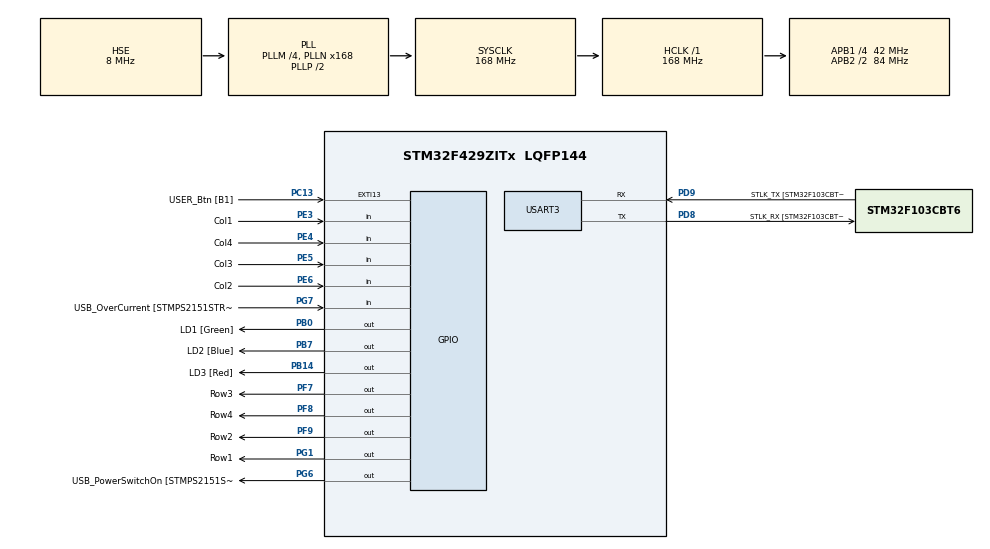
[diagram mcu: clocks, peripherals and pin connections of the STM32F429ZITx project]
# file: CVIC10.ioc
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Mcu.Family=STM32F4
Mcu.Name=STM32F429ZITx
Mcu.Package=LQFP144
NVIC.PriorityGroup=NVIC_PRIORITYGROUP_4
NVIC.TIM3_IRQn=true\:0\:0\:false\:false\:true\:true\:true\:true
PA1.GPIO_Label=RMII_REF_CLK [LAN8742A-CZ-TR_REFCLK0]
PA1.Signal=ETH_REF_CLK
PA10.GPIO_Label=USB_ID
PA10.Signal=USB_OTG_FS_ID
PA11.GPIO_Label=USB_DM
PA11.Signal=USB_OTG_FS_DM
PA12.GPIO_Label=USB_DP
PA12.Signal=USB_OTG_FS_DP
PA13.GPIO_Label=TMS
PA13.Mode=Serial_Wire
PA13.Signal=SYS_JTMS-SWDIO
PA14.GPIO_Label=TCK
PA14.Mode=Serial_Wire
PA14.Signal=SYS_JTCK-SWCLK
PA2.GPIO_Label=RMII_MDIO [LAN8742A-CZ-TR_MDIO]
PA2.Signal=ETH_MDIO
PA7.GPIO_Label=RMII_CRS_DV [LAN8742A-CZ-TR_CRS_DV]
PA7.Signal=ETH_CRS_DV
PA8.GPIO_Label=USB_SOF [TP1]
PA8.Signal=USB_OTG_FS_SOF
PA9.GPIO_Label=USB_VBUS
PA9.Signal=USB_OTG_FS_VBUS
PB0.GPIO_Label=LD1 [Green]
PB0.Signal=GPIO_Output
PB13.GPIO_Label=RMII_TXD1 [LAN8742A-CZ-TR_TXD1]
PB13.Signal=ETH_TXD1
PB14.GPIO_Label=LD3 [Red]
PB14.Signal=GPIO_Output
PB7.GPIO_Label=LD2 [Blue]
PB7.Signal=GPIO_Output
PC1.GPIO_Label=RMII_MDC [LAN8742A-CZ-TR_MDC]
PC1.Signal=ETH_MDC
PC13.GPIO_Label=USER_Btn [B1]
PC13.Signal=GPXTI13
PC14/OSC32_IN.Mode=LSE-External-Oscillator
PC14/OSC32_IN.Signal=RCC_OSC32_IN
PC15/OSC32_OUT.Mode=LSE-External-Oscillator
PC15/OSC32_OUT.Signal=RCC_OSC32_OUT
PC4.GPIO_Label=RMII_RXD0 [LAN8742A-CZ-TR_RXD0]
PC4.Signal=ETH_RXD0
PC5.GPIO_Label=RMII_RXD1 [LAN8742A-CZ-TR_RXD1]
PC5.Signal=ETH_RXD1
PD8.GPIO_Label=STLK_RX [STM32F103CBT6_PA3]
PD8.Mode=Asynchronous
PD8.Signal=USART3_TX
PD9.GPIO_Label=STLK_TX [STM32F103CBT6_PA2]
PD9.Mode=Asynchronous
PD9.Signal=USART3_RX
PE3.GPIO_Label=Col1
PE3.GPIO_PuPd=GPIO_PULLUP
PE3.Signal=GPIO_Input
PE4.GPIO_Label=Col4
PE4.GPIO_PuPd=GPIO_PULLUP
PE4.Signal=GPIO_Input
PE5.GPIO_Label=Col3
PE5.GPIO_PuPd=GPIO_PULLUP
PE5.Signal=GPIO_Input
PE6.GPIO_Label=Col2
PE6.GPIO_PuPd=GPIO_PULLUP
PE6.Signal=GPIO_Input
PF7.GPIO_Label=Row3
PF7.GPIO_ModeDefaultOutputPP=GPIO_MODE_OUTPUT_OD
PF7.GPIO_PuPd=GPIO_NOPULL
PF7.Signal=GPIO_Output
PF8.GPIO_Label=Row4
PF8.GPIO_ModeDefaultOutputPP=GPIO_MODE_OUTPUT_OD
PF8.GPIO_PuPd=GPIO_NOPULL
PF8.Signal=GPIO_Output
PF9.GPIO_Label=Row2
PF9.GPIO_ModeDefaultOutputPP=GPIO_MODE_OUTPUT_OD
PF9.GPIO_PuPd=GPIO_NOPULL
PF9.Signal=GPIO_Output
PG1.GPIO_Label=Row1
PG1.GPIO_ModeDefaultOutputPP=GPIO_MODE_OUTPUT_OD
PG1.GPIO_PuPd=GPIO_NOPULL
PG1.Signal=GPIO_Output
PG11.GPIO_Label=RMII_TX_EN [LAN8742A-CZ-TR_TXEN]
PG11.Signal=ETH_TX_EN
PG13.GPIO_Label=RMII_TXD0 [LAN8742A-CZ-TR_TXD0]
PG13.Signal=ETH_TXD0
PG6.GPIO_Label=USB_PowerSwitchOn [STMPS2151STR_EN]
PG6.Signal=GPIO_Output
PG7.GPIO_Label=USB_OverCurrent [STMPS2151STR_FAULT]
PG7.Signal=GPIO_Input
PH0/OSC_IN.GPIO_Label=MCO [STM32F103CBT6_PA8]
PH0/OSC_IN.Mode=HSE-External-Clock-Source
PH0/OSC_IN.Signal=RCC_OSC_IN
PH1/OSC_OUT.Mode=HSE-External-Clock-Source
PH1/OSC_OUT.Signal=RCC_OSC_OUT
ProjectManager.HeapSize=0x200
ProjectManager.StackSize=0x400
ProjectManager.TargetToolchain=STM32CubeIDE
RCC.48MHZClocksFreq_Value=48000000
RCC.AHBFreq_Value=168000000
RCC.APB1CLKDivider=RCC_HCLK_DIV4
RCC.APB1Freq_Value=42000000
RCC.APB1TimFreq_Value=84000000
RCC.APB2CLKDivider=RCC_HCLK_DIV2
RCC.APB2Freq_Value=84000000
RCC.APB2TimCLKDivider=2
RCC.APB2TimFreq_Value=168000000
RCC.CortexFreq_Value=168000000
RCC.HCLKFreq_Value=168000000
RCC.HSE_VALUE=8000000
RCC.HSI_VALUE=16000000
RCC.PLLM=4
RCC.PLLMUL=RCC_PLL_MUL9
RCC.PLLN=168
RCC.PLLQ=7
RCC.PLLSourceVirtual=RCC_PLLSOURCE_HSE
RCC.PRESCALERUSB=RCC_USBCLKSOURCE_PLL_DIV1_5
RCC.SYSCLKFreq_VALUE=168000000
RCC.SYSCLKSource=RCC_SYSCLKSOURCE_PLLCLK
RCC.SYSCLKSourceVirtual=RCC_SYSCLKSOURCE_PLLCLK
RCC.USBFreq_Value=48000000
RCC.VCOOutputFreq_Value=336000000
TIM3.AutoReloadPreload=TIM_AUTORELOAD_PRELOAD_ENABLE
TIM3.Period=99
TIM3.Prescaler=8399
USART3.VirtualMode=VM_ASYNC
VP_TIM3_VS_ClockSourceINT.Mode=Internal
board=NUCLEO-F429ZI

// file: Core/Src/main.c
/* USER CODE BEGIN Header */
/**
  ******************************************************************************
  * @file           : main.c
  * @brief          : Main program body
  ******************************************************************************
  * @attention
  *
  * Copyright (c) 2023 STMicroelectronics.
  * All rights reserved.
  *
  * This software is licensed under terms that can be found in the LICENSE file
  * in the root directory of this software component.
  * If no LICENSE file comes with this software, it is provided AS-IS.
  *
  ******************************************************************************
  */
/* USER CODE END Header */
#include "main.h"

/* USER CODE BEGIN Includes */
#include <stdio.h>

/* USER CODE END Includes */

TIM_HandleTypeDef htim3;

UART_HandleTypeDef huart3;

/* USER CODE BEGIN PV */
static volatile int8_t key = -1;
static const int8_t kod[] = {7, 9, 3, 2, 12};
static int8_t pos = 0;

/* USER CODE END PV */

void SystemClock_Config(void);
static void MX_GPIO_Init(void);
static void MX_USART3_UART_Init(void);
static void MX_TIM3_Init(void);

/* USER CODE BEGIN 0 */

int __io_putchar(int ch)
{
ITM_SendChar(ch);
return 0;
}

/* USER CODE END 0 */

int main(void)
{

  /* MCU Configuration--------------------------------------------------------*/

  /* Reset of all peripherals, Initializes the Flash interface and the Systick. */
  HAL_Init();

  /* Configure the system clock */
  SystemClock_Config();

  /* Initialize all configured peripherals */
  MX_GPIO_Init();
  MX_USART3_UART_Init();
  MX_TIM3_Init();
  /* USER CODE BEGIN 2 */
  HAL_TIM_Base_Start_IT(&htim3);
  /* USER CODE END 2 */

  /* Infinite loop */
  /* USER CODE BEGIN WHILE */
  while (1)
  {

	  /*HAL_GPIO_TogglePin(LD1_GPIO_Port, LD1_Pin);
	  HAL_Delay(250);
	  printf("Tick\n");*/

	  /*if (key != -1){
		  printf("Stisknuto: %d\n", key);
		  HAL_Delay(500);
		  key = -1;
	  }*/

	  static uint32_t delay;

	  if (HAL_GetTick() > delay + 750) {

		  if (key != -1){
			  if (key == kod[pos]){
				  printf("Stisknuto: %d\n", key);
				  HAL_Delay(200);
				  pos = pos + 1;
				  key = -1;
			  }
			  else {
				  key = -1;
				  pos = 0;
			  }

		  }

		  if (pos > 4){
			  HAL_GPIO_TogglePin(LD1_GPIO_Port, LD1_Pin);
			  pos = 0;
		  }

		  delay = HAL_GetTick();
	  }

    /* USER CODE END WHILE */

  }
}

void SystemClock_Config(void)
{
  RCC_OscInitTypeDef RCC_OscInitStruct = {0};
  RCC_ClkInitTypeDef RCC_ClkInitStruct = {0};

  /** Configure the main internal regulator output voltage
  */
  __HAL_RCC_PWR_CLK_ENABLE();
  __HAL_PWR_VOLTAGESCALING_CONFIG(PWR_REGULATOR_VOLTAGE_SCALE1);

  /** Initializes the RCC Oscillators according to the specified parameters
  * in the RCC_OscInitTypeDef structure.
  */
  RCC_OscInitStruct.OscillatorType = RCC_OSCILLATORTYPE_HSE;
  RCC_OscInitStruct.HSEState = RCC_HSE_BYPASS;
  RCC_OscInitStruct.PLL.PLLState = RCC_PLL_ON;
  RCC_OscInitStruct.PLL.PLLSource = RCC_PLLSOURCE_HSE;
  RCC_OscInitStruct.PLL.PLLM = 4;
  RCC_OscInitStruct.PLL.PLLN = 168;
  RCC_OscInitStruct.PLL.PLLP = RCC_PLLP_DIV2;
  RCC_OscInitStruct.PLL.PLLQ = 7;
  if (HAL_RCC_OscConfig(&RCC_OscInitStruct) != HAL_OK)
  {
    Error_Handler();
  }

  /** Initializes the CPU, AHB and APB buses clocks
  */
  RCC_ClkInitStruct.ClockType = RCC_CLOCKTYPE_HCLK|RCC_CLOCKTYPE_SYSCLK
                              |RCC_CLOCKTYPE_PCLK1|RCC_CLOCKTYPE_PCLK2;
  RCC_ClkInitStruct.SYSCLKSource = RCC_SYSCLKSOURCE_PLLCLK;
  RCC_ClkInitStruct.AHBCLKDivider = RCC_SYSCLK_DIV1;
  RCC_ClkInitStruct.APB1CLKDivider = RCC_HCLK_DIV4;
  RCC_ClkInitStruct.APB2CLKDivider = RCC_HCLK_DIV2;

  if (HAL_RCC_ClockConfig(&RCC_ClkInitStruct, FLASH_LATENCY_5) != HAL_OK)
  {
    Error_Handler();
  }
}

static void MX_TIM3_Init(void)
{

  TIM_ClockConfigTypeDef sClockSourceConfig = {0};
  TIM_MasterConfigTypeDef sMasterConfig = {0};

  htim3.Instance = TIM3;
  htim3.Init.Prescaler = 8399;
  htim3.Init.CounterMode = TIM_COUNTERMODE_UP;
  htim3.Init.Period = 99;
  htim3.Init.ClockDivision = TIM_CLOCKDIVISION_DIV1;
  htim3.Init.AutoReloadPreload = TIM_AUTORELOAD_PRELOAD_ENABLE;
  if (HAL_TIM_Base_Init(&htim3) != HAL_OK)
  {
    Error_Handler();
  }
  sClockSourceConfig.ClockSource = TIM_CLOCKSOURCE_INTERNAL;
  if (HAL_TIM_ConfigClockSource(&htim3, &sClockSourceConfig) != HAL_OK)
  {
    Error_Handler();
  }
  sMasterConfig.MasterOutputTrigger = TIM_TRGO_RESET;
  sMasterConfig.MasterSlaveMode = TIM_MASTERSLAVEMODE_DISABLE;
  if (HAL_TIMEx_MasterConfigSynchronization(&htim3, &sMasterConfig) != HAL_OK)
  {
    Error_Handler();
  }

}

static void MX_USART3_UART_Init(void)
{

  huart3.Instance = USART3;
  huart3.Init.BaudRate = 115200;
  huart3.Init.WordLength = UART_WORDLENGTH_8B;
  huart3.Init.StopBits = UART_STOPBITS_1;
  huart3.Init.Parity = UART_PARITY_NONE;
  huart3.Init.Mode = UART_MODE_TX_RX;
  huart3.Init.HwFlowCtl = UART_HWCONTROL_NONE;
  huart3.Init.OverSampling = UART_OVERSAMPLING_16;
  if (HAL_UART_Init(&huart3) != HAL_OK)
  {
    Error_Handler();
  }

}

static void MX_GPIO_Init(void)
{
  GPIO_InitTypeDef GPIO_InitStruct = {0};

  /* GPIO Ports Clock Enable */
  __HAL_RCC_GPIOE_CLK_ENABLE();
  __HAL_RCC_GPIOC_CLK_ENABLE();
  __HAL_RCC_GPIOF_CLK_ENABLE();
  __HAL_RCC_GPIOH_CLK_ENABLE();
  __HAL_RCC_GPIOA_CLK_ENABLE();
  __HAL_RCC_GPIOB_CLK_ENABLE();
  __HAL_RCC_GPIOG_CLK_ENABLE();
  __HAL_RCC_GPIOD_CLK_ENABLE();

  /*Configure GPIO pin Output Level */
  HAL_GPIO_WritePin(GPIOF, Row3_Pin|Row4_Pin|Row2_Pin, GPIO_PIN_RESET);

  /*Configure GPIO pin Output Level */
  HAL_GPIO_WritePin(GPIOB, LD1_Pin|LD3_Pin|LD2_Pin, GPIO_PIN_RESET);

  /*Configure GPIO pin Output Level */
  HAL_GPIO_WritePin(GPIOG, Row1_Pin|USB_PowerSwitchOn_Pin, GPIO_PIN_RESET);

  /*Configure GPIO pins : Col1_Pin Col4_Pin Col3_Pin Col2_Pin */
  GPIO_InitStruct.Pin = Col1_Pin|Col4_Pin|Col3_Pin|Col2_Pin;
  GPIO_InitStruct.Mode = GPIO_MODE_INPUT;
  GPIO_InitStruct.Pull = GPIO_PULLUP;
  HAL_GPIO_Init(GPIOE, &GPIO_InitStruct);

  /*Configure GPIO pin : USER_Btn_Pin */
  GPIO_InitStruct.Pin = USER_Btn_Pin;
  GPIO_InitStruct.Mode = GPIO_MODE_IT_RISING;
  GPIO_InitStruct.Pull = GPIO_NOPULL;
  HAL_GPIO_Init(USER_Btn_GPIO_Port, &GPIO_InitStruct);

  /*Configure GPIO pins : Row3_Pin Row4_Pin Row2_Pin */
  GPIO_InitStruct.Pin = Row3_Pin|Row4_Pin|Row2_Pin;
  GPIO_InitStruct.Mode = GPIO_MODE_OUTPUT_OD;
  GPIO_InitStruct.Pull = GPIO_NOPULL;
  GPIO_InitStruct.Speed = GPIO_SPEED_FREQ_LOW;
  HAL_GPIO_Init(GPIOF, &GPIO_InitStruct);

  /*Configure GPIO pins : RMII_MDC_Pin RMII_RXD0_Pin RMII_RXD1_Pin */
  GPIO_InitStruct.Pin = RMII_MDC_Pin|RMII_RXD0_Pin|RMII_RXD1_Pin;
  GPIO_InitStruct.Mode = GPIO_MODE_AF_PP;
  GPIO_InitStruct.Pull = GPIO_NOPULL;
  GPIO_InitStruct.Speed = GPIO_SPEED_FREQ_VERY_HIGH;
  GPIO_InitStruct.Alternate = GPIO_AF11_ETH;
  HAL_GPIO_Init(GPIOC, &GPIO_InitStruct);

  /*Configure GPIO pins : RMII_REF_CLK_Pin RMII_MDIO_Pin RMII_CRS_DV_Pin */
  GPIO_InitStruct.Pin = RMII_REF_CLK_Pin|RMII_MDIO_Pin|RMII_CRS_DV_Pin;
  GPIO_InitStruct.Mode = GPIO_MODE_AF_PP;
  GPIO_InitStruct.Pull = GPIO_NOPULL;
  GPIO_InitStruct.Speed = GPIO_SPEED_FREQ_VERY_HIGH;
  GPIO_InitStruct.Alternate = GPIO_AF11_ETH;
  HAL_GPIO_Init(GPIOA, &GPIO_InitStruct);

  /*Configure GPIO pins : LD1_Pin LD3_Pin LD2_Pin */
  GPIO_InitStruct.Pin = LD1_Pin|LD3_Pin|LD2_Pin;
  GPIO_InitStruct.Mode = GPIO_MODE_OUTPUT_PP;
  GPIO_InitStruct.Pull = GPIO_NOPULL;
  GPIO_InitStruct.Speed = GPIO_SPEED_FREQ_LOW;
  HAL_GPIO_Init(GPIOB, &GPIO_InitStruct);

  /*Configure GPIO pin : Row1_Pin */
  GPIO_InitStruct.Pin = Row1_Pin;
  GPIO_InitStruct.Mode = GPIO_MODE_OUTPUT_OD;
  GPIO_InitStruct.Pull = GPIO_NOPULL;
  GPIO_InitStruct.Speed = GPIO_SPEED_FREQ_LOW;
  HAL_GPIO_Init(Row1_GPIO_Port, &GPIO_InitStruct);

  /*Configure GPIO pin : RMII_TXD1_Pin */
  GPIO_InitStruct.Pin = RMII_TXD1_Pin;
  GPIO_InitStruct.Mode = GPIO_MODE_AF_PP;
  GPIO_InitStruct.Pull = GPIO_NOPULL;
  GPIO_InitStruct.Speed = GPIO_SPEED_FREQ_VERY_HIGH;
  GPIO_InitStruct.Alternate = GPIO_AF11_ETH;
  HAL_GPIO_Init(RMII_TXD1_GPIO_Port, &GPIO_InitStruct);

  /*Configure GPIO pin : USB_PowerSwitchOn_Pin */
  GPIO_InitStruct.Pin = USB_PowerSwitchOn_Pin;
  GPIO_InitStruct.Mode = GPIO_MODE_OUTPUT_PP;
  GPIO_InitStruct.Pull = GPIO_NOPULL;
  GPIO_InitStruct.Speed = GPIO_SPEED_FREQ_LOW;
  HAL_GPIO_Init(USB_PowerSwitchOn_GPIO_Port, &GPIO_InitStruct);

  /*Configure GPIO pin : USB_OverCurrent_Pin */
  GPIO_InitStruct.Pin = USB_OverCurrent_Pin;
  GPIO_InitStruct.Mode = GPIO_MODE_INPUT;
  GPIO_InitStruct.Pull = GPIO_NOPULL;
  HAL_GPIO_Init(USB_OverCurrent_GPIO_Port, &GPIO_InitStruct);

  /*Configure GPIO pins : USB_SOF_Pin USB_ID_Pin USB_DM_Pin USB_DP_Pin */
  GPIO_InitStruct.Pin = USB_SOF_Pin|USB_ID_Pin|USB_DM_Pin|USB_DP_Pin;
  GPIO_InitStruct.Mode = GPIO_MODE_AF_PP;
  GPIO_InitStruct.Pull = GPIO_NOPULL;
  GPIO_InitStruct.Speed = GPIO_SPEED_FREQ_VERY_HIGH;
  GPIO_InitStruct.Alternate = GPIO_AF10_OTG_FS;
  HAL_GPIO_Init(GPIOA, &GPIO_InitStruct);

  /*Configure GPIO pin : USB_VBUS_Pin */
  GPIO_InitStruct.Pin = USB_VBUS_Pin;
  GPIO_InitStruct.Mode = GPIO_MODE_INPUT;
  GPIO_InitStruct.Pull = GPIO_NOPULL;
  HAL_GPIO_Init(USB_VBUS_GPIO_Port, &GPIO_InitStruct);

  /*Configure GPIO pins : RMII_TX_EN_Pin RMII_TXD0_Pin */
  GPIO_InitStruct.Pin = RMII_TX_EN_Pin|RMII_TXD0_Pin;
  GPIO_InitStruct.Mode = GPIO_MODE_AF_PP;
  GPIO_InitStruct.Pull = GPIO_NOPULL;
  GPIO_InitStruct.Speed = GPIO_SPEED_FREQ_VERY_HIGH;
  GPIO_InitStruct.Alternate = GPIO_AF11_ETH;
  HAL_GPIO_Init(GPIOG, &GPIO_InitStruct);

}

/* USER CODE BEGIN 4 */
void HAL_TIM_PeriodElapsedCallback(TIM_HandleTypeDef *htim)
{
 static int row = 0;
 static const int keyboard[4][4] = {
 { 1, 2, 3, 21 },
 { 4, 5, 6, 22 },
 { 7, 8, 9, 23 },
 { 11, 0, 12, 24 },
 };
 if (key == -1) {
 if (HAL_GPIO_ReadPin(Col1_GPIO_Port, Col1_Pin) == GPIO_PIN_RESET) key = keyboard[row][0];
 if (HAL_GPIO_ReadPin(Col2_GPIO_Port, Col2_Pin) == GPIO_PIN_RESET) key = keyboard[row][1];
 if (HAL_GPIO_ReadPin(Col3_GPIO_Port, Col3_Pin) == GPIO_PIN_RESET) key = keyboard[row][2];
 if (HAL_GPIO_ReadPin(Col4_GPIO_Port, Col4_Pin) == GPIO_PIN_RESET) key = keyboard[row][3];
 }
 HAL_GPIO_WritePin(Row1_GPIO_Port, Row1_Pin, GPIO_PIN_SET);
 HAL_GPIO_WritePin(Row2_GPIO_Port, Row2_Pin, GPIO_PIN_SET);
 HAL_GPIO_WritePin(Row3_GPIO_Port, Row3_Pin, GPIO_PIN_SET);
 HAL_GPIO_WritePin(Row4_GPIO_Port, Row4_Pin, GPIO_PIN_SET);
 switch (row) {
 case 0: row = 1; HAL_GPIO_WritePin(Row2_GPIO_Port, Row2_Pin, GPIO_PIN_RESET); break;
 case 1: row = 2; HAL_GPIO_WritePin(Row3_GPIO_Port, Row3_Pin, GPIO_PIN_RESET); break;
 case 2: row = 3; HAL_GPIO_WritePin(Row4_GPIO_Port, Row4_Pin, GPIO_PIN_RESET); break;
 case 3: row = 0; HAL_GPIO_WritePin(Row1_GPIO_Port, Row1_Pin, GPIO_PIN_RESET); break;
 }
}

/* USER CODE END 4 */

void Error_Handler(void)
{
  __disable_irq();
  while (1)
  {
  }
}
